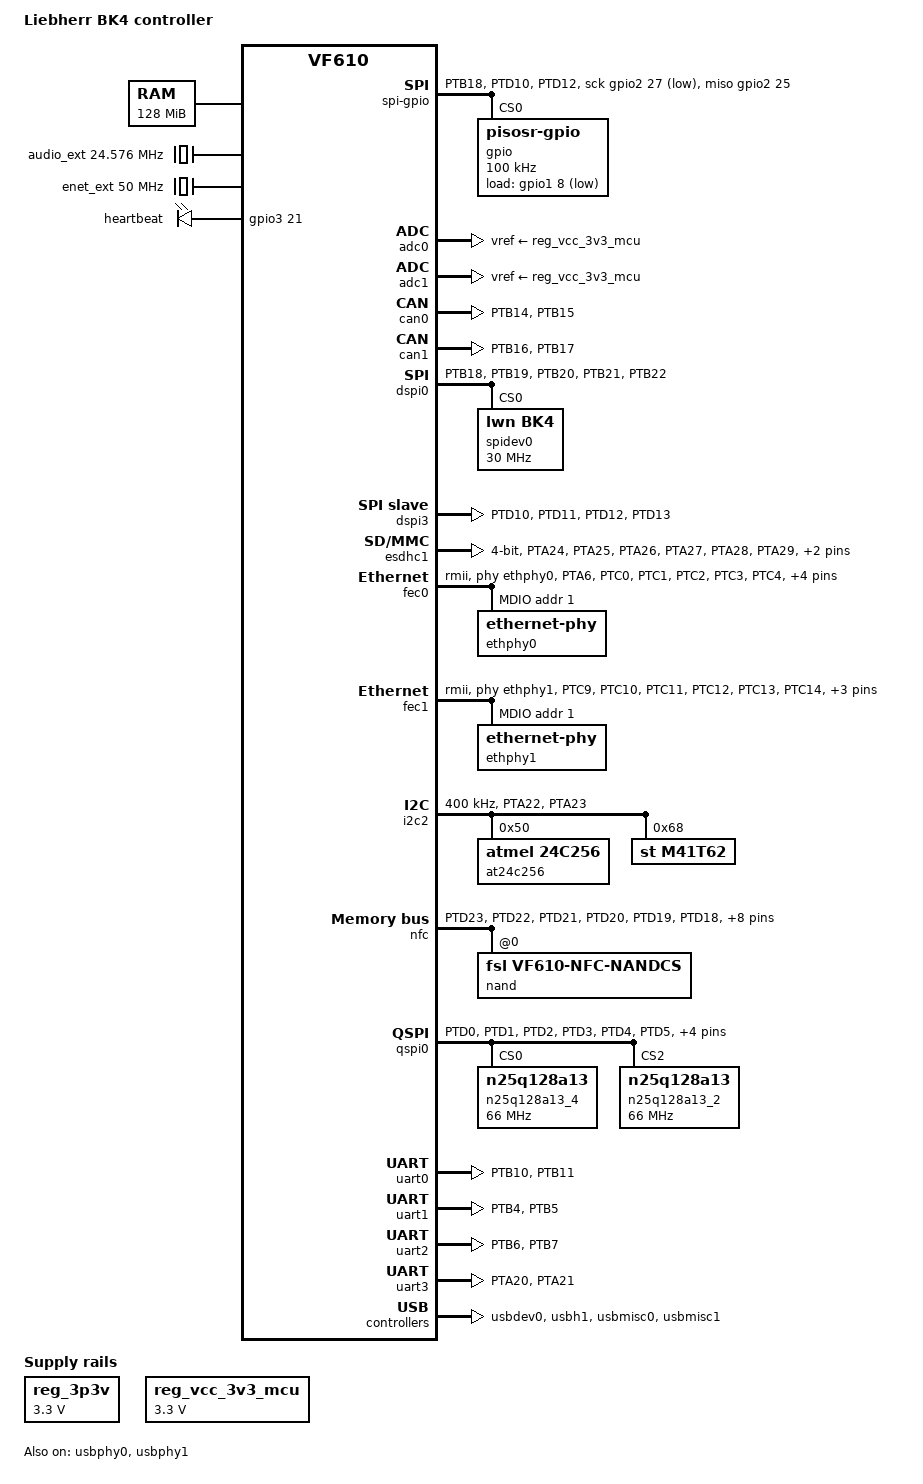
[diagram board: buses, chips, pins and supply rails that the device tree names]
// SPDX-License-Identifier: (GPL-2.0+ OR MIT)
/*
 * Copyright 2018
 * Lukasz Majewski, DENX Software Engineering, lukma@denx.de
 */

/dts-v1/;
#include "vf610.dtsi"

/ {
	model = "Liebherr BK4 controller";
	compatible = "lwn,bk4", "fsl,vf610";

	chosen {
		stdout-path = &uart1;
	};

	memory@80000000 {
		device_type = "memory";
		reg = <0x80000000 0x8000000>;
	};

	audio_ext: oscillator-audio {
		compatible = "fixed-clock";
		#clock-cells = <0>;
		clock-frequency = <24576000>;
	};

	enet_ext: oscillator-ethernet {
		compatible = "fixed-clock";
		#clock-cells = <0>;
		clock-frequency = <50000000>;
	};

	leds {
		compatible = "gpio-leds";
		pinctrl-names = "default";
		pinctrl-0 = <&pinctrl_gpio_leds>;

		/* LED D5 */
		led0: heartbeat {
			label = "heartbeat";
			gpios = <&gpio3 21 GPIO_ACTIVE_HIGH>;
			default-state = "on";
			linux,default-trigger = "heartbeat";
		};
	};

	reg_3p3v: regulator-3p3v {
		compatible = "regulator-fixed";
		regulator-name = "3P3V";
		regulator-min-microvolt = <3300000>;
		regulator-max-microvolt = <3300000>;
		regulator-always-on;
	};

	reg_vcc_3v3_mcu: regulator-vcc3v3mcu {
		compatible = "regulator-fixed";
		regulator-name = "vcc_3v3_mcu";
		regulator-min-microvolt = <3300000>;
		regulator-max-microvolt = <3300000>;
	};

	spi-gpio {
		compatible = "spi-gpio";
		pinctrl-0 = <&pinctrl_gpio_spi>;
		pinctrl-names = "default";
		#address-cells = <1>;
		#size-cells = <0>;
		/* PTD12 ->RPIO[91] */
		sck-gpios  = <&gpio2 27 GPIO_ACTIVE_LOW>;
		/* PTD10 ->RPIO[89] */
		miso-gpios = <&gpio2 25 GPIO_ACTIVE_HIGH>;
		num-chipselects = <0>;

		gpio@0 {
			compatible = "pisosr-gpio";
			reg = <0>;
			gpio-controller;
			#gpio-cells = <2>;
			/* PTB18 -> RGPIO[40] */
			load-gpios  = <&gpio1 8 GPIO_ACTIVE_LOW>;
			spi-max-frequency = <100000>;
		};
	};
};

&adc0 {
	vref-supply = <&reg_vcc_3v3_mcu>;
	status = "okay";
};

&adc1 {
	vref-supply = <&reg_vcc_3v3_mcu>;
	status = "okay";
};

&can0 {
	pinctrl-names = "default";
	pinctrl-0 = <&pinctrl_can0>;
	status = "okay";
};

&can1 {
	pinctrl-names = "default";
	pinctrl-0 = <&pinctrl_can1>;
	status = "okay";
};

&clks {
	clocks = <&sxosc>, <&fxosc>, <&enet_ext>, <&audio_ext>;
	clock-names = "sxosc", "fxosc", "enet_ext", "audio_ext";
};

&dspi0 {
	pinctrl-names = "default";
	pinctrl-0 = <&pinctrl_dspi0>;
	bus-num = <0>;
	status = "okay";

	spidev0@0 {
		compatible = "lwn,bk4";
		spi-max-frequency = <30000000>;
		reg = <0>;
		fsl,spi-cs-sck-delay = <200>;
		fsl,spi-sck-cs-delay = <400>;
	};
};

&dspi3 {
	pinctrl-names = "default";
	pinctrl-0 = <&pinctrl_dspi3>;
	bus-num = <3>;
	status = "okay";
	spi-slave;
	#address-cells = <0>;

	slave {
		compatible = "lwn,bk4";
		spi-max-frequency = <30000000>;
	};
};

&edma0 {
	status = "okay";
};

&edma1 {
	status = "okay";
};

&esdhc1 {
	pinctrl-names = "default";
	pinctrl-0 = <&pinctrl_esdhc1>;
	bus-width = <4>;
	cd-gpios = <&gpio3 2 GPIO_ACTIVE_LOW>;
	status = "okay";
};

&fec0 {
	phy-mode = "rmii";
	phy-handle = <&ethphy0>;
	pinctrl-names = "default";
	pinctrl-0 = <&pinctrl_fec0>;
	status = "okay";

	mdio {
		#address-cells = <1>;
		#size-cells = <0>;

		ethphy0: ethernet-phy@1 {
			reg = <1>;
			clocks = <&clks VF610_CLK_ENET_50M>;
			clock-names = "rmii-ref";
		};
	};
};

&fec1 {
	phy-mode = "rmii";
	phy-handle = <&ethphy1>;
	pinctrl-names = "default";
	pinctrl-0 = <&pinctrl_fec1>;
	status = "okay";

	mdio {
		#address-cells = <1>;
		#size-cells = <0>;

		ethphy1: ethernet-phy@1 {
			reg = <1>;
			clocks = <&clks VF610_CLK_ENET_50M>;
			clock-names = "rmii-ref";
		};
	};
};

&i2c2 {
	clock-frequency = <400000>;
	pinctrl-names = "default";
	pinctrl-0 = <&pinctrl_i2c2>;
	status = "okay";

	at24c256: eeprom@50 {
		compatible = "atmel,24c256";
		reg = <0x50>;
	};

	m41t62: rtc@68 {
		compatible = "st,m41t62";
		reg = <0x68>;
	};
};

&nfc {
	assigned-clocks = <&clks VF610_CLK_NFC>;
	assigned-clock-rates = <33000000>;
	pinctrl-names = "default";
	pinctrl-0 = <&pinctrl_nfc>;
	status = "okay";

	nand@0 {
		compatible = "fsl,vf610-nfc-nandcs";
		reg = <0>;
		#address-cells = <1>;
		#size-cells = <1>;
		nand-bus-width = <16>;
		nand-ecc-mode = "hw";
		nand-ecc-strength = <24>;
		nand-ecc-step-size = <2048>;
		nand-on-flash-bbt;
	};
};

&qspi0 {
	pinctrl-names = "default";
	pinctrl-0 = <&pinctrl_qspi0>;
	status = "okay";

	n25q128a13_4: flash@0 {
		compatible = "n25q128a13", "jedec,spi-nor";
		#address-cells = <1>;
		#size-cells = <1>;
		spi-max-frequency = <66000000>;
		spi-rx-bus-width = <4>;
		reg = <0>;
	};

	n25q128a13_2: flash@2 {
		compatible = "n25q128a13", "jedec,spi-nor";
		#address-cells = <1>;
		#size-cells = <1>;
		spi-max-frequency = <66000000>;
		spi-rx-bus-width = <2>;
		reg = <2>;
	};
};

&uart0 {
	pinctrl-names = "default";
	pinctrl-0 = <&pinctrl_uart0>;
	/delete-property/dma-names;
	status = "okay";
};

&uart1 {
	pinctrl-names = "default";
	pinctrl-0 = <&pinctrl_uart1>;
	/delete-property/dma-names;
	status = "okay";
};

&uart2 {
	pinctrl-names = "default";
	pinctrl-0 = <&pinctrl_uart2>;
	/delete-property/dma-names;
	status = "okay";
};

&uart3 {
	pinctrl-names = "default";
	pinctrl-0 = <&pinctrl_uart3>;
	/delete-property/dma-names;
	status = "okay";
};

&usbdev0 {
	disable-over-current;
	status = "okay";
};

&usbh1 {
	disable-over-current;
	status = "okay";
};

&usbmisc0 {
	status = "okay";
};

&usbmisc1 {
	status = "okay";
};

&usbphy0 {
	status = "okay";
};

&usbphy1 {
	status = "okay";
};

&iomuxc {
	pinctrl-names = "default";
	pinctrl-0 = <&pinctrl_hog>;

	pinctrl_hog: hoggrp {
		fsl,pins = <
			/* One_Wire_PSU_EN */
			VF610_PAD_PTC29__GPIO_102		0x1183
			/* SPI ENABLE */
			VF610_PAD_PTB26__GPIO_96		0x1183
			/* EB control */
			VF610_PAD_PTE14__GPIO_119		0x1183
			VF610_PAD_PTE4__GPIO_109		0x1181
			/* Feedback_Lines */
			VF610_PAD_PTC31__GPIO_104		0x1181
			VF610_PAD_PTA7__GPIO_134		0x1181
			VF610_PAD_PTD9__GPIO_88		0x1181
			VF610_PAD_PTE1__GPIO_106		0x1183
			VF610_PAD_PTB2__GPIO_24		0x1181
			VF610_PAD_PTB3__GPIO_25		0x1181
			VF610_PAD_PTB1__GPIO_23		0x1181
			/* SDHC Enable */
			VF610_PAD_PTE19__GPIO_124		0x1183
			/* SDHC Overcurrent */
			VF610_PAD_PTB23__GPIO_93		0x1181
			/* GPI */
			VF610_PAD_PTE2__GPIO_107		0x1181
			VF610_PAD_PTE3__GPIO_108		0x1181
			VF610_PAD_PTE5__GPIO_110		0x1181
			VF610_PAD_PTE6__GPIO_111		0x1181
			/* GPO */
			VF610_PAD_PTE0__GPIO_105		0x1183
			VF610_PAD_PTE7__GPIO_112		0x1183
			/* RS485 Control */
			VF610_PAD_PTB8__GPIO_30		0x1183
			VF610_PAD_PTB9__GPIO_31		0x1183
			VF610_PAD_PTE8__GPIO_113		0x1183
			/* MPBUS MPB_EN */
			VF610_PAD_PTE28__GPIO_133		0x1183
			/* MISC */
			VF610_PAD_PTE10__GPIO_115		0x1183
			VF610_PAD_PTE11__GPIO_116		0x1183
			VF610_PAD_PTE17__GPIO_122		0x1183
			VF610_PAD_PTC30__GPIO_103		0x1183
			VF610_PAD_PTB0__GPIO_22		0x1181
			/* RESETINFO */
			VF610_PAD_PTE26__GPIO_131		0x1183
			VF610_PAD_PTD6__GPIO_85		0x1181
			VF610_PAD_PTE27__GPIO_132		0x1181
			VF610_PAD_PTE13__GPIO_118		0x1181
			VF610_PAD_PTE21__GPIO_126		0x1181
			VF610_PAD_PTE22__GPIO_127		0x1181
			/* EE_5V_EN */
			VF610_PAD_PTE18__GPIO_123		0x1183
			/* EE_5V_OC_N */
			VF610_PAD_PTE25__GPIO_130		0x1181
		>;
	};

	pinctrl_can0: can0grp {
		fsl,pins = <
			VF610_PAD_PTB14__CAN0_RX		0x1181
			VF610_PAD_PTB15__CAN0_TX		0x1182
		>;
	};

	pinctrl_can1: can1grp {
		fsl,pins = <
			VF610_PAD_PTB16__CAN1_RX		0x1181
			VF610_PAD_PTB17__CAN1_TX		0x1182
		>;
	};

	pinctrl_dspi0: dspi0grp {
		fsl,pins = <
			VF610_PAD_PTB18__DSPI0_CS1		0x1182
			VF610_PAD_PTB19__DSPI0_CS0		0x1182
			VF610_PAD_PTB20__DSPI0_SIN		0x1181
			VF610_PAD_PTB21__DSPI0_SOUT		0x1182
			VF610_PAD_PTB22__DSPI0_SCK		0x1182
		>;
	};

	pinctrl_dspi3: dspi3grp {
		fsl,pins = <
			VF610_PAD_PTD10__DSPI3_CS0		0x1181
			VF610_PAD_PTD11__DSPI3_SIN		0x1181
			VF610_PAD_PTD12__DSPI3_SOUT		0x1182
			VF610_PAD_PTD13__DSPI3_SCK		0x1181
		>;
	};

	pinctrl_esdhc1: esdhc1grp {
		fsl,pins = <
			VF610_PAD_PTA24__ESDHC1_CLK		0x31ef
			VF610_PAD_PTA25__ESDHC1_CMD		0x31ef
			VF610_PAD_PTA26__ESDHC1_DAT0		0x31ef
			VF610_PAD_PTA27__ESDHC1_DAT1		0x31ef
			VF610_PAD_PTA28__ESDHC1_DATA2		0x31ef
			VF610_PAD_PTA29__ESDHC1_DAT3		0x31ef
			VF610_PAD_PTB28__GPIO_98		0x219d
		>;
	};

	pinctrl_fec0: fec0grp {
		fsl,pins = <
			VF610_PAD_PTA6__RMII_CLKIN		0x30dd
			VF610_PAD_PTC0__ENET_RMII0_MDC		0x30de
			VF610_PAD_PTC1__ENET_RMII0_MDIO	0x30df
			VF610_PAD_PTC2__ENET_RMII0_CRS		0x30dd
			VF610_PAD_PTC3__ENET_RMII0_RXD1	0x30dd
			VF610_PAD_PTC4__ENET_RMII0_RXD0	0x30dd
			VF610_PAD_PTC5__ENET_RMII0_RXER	0x30dd
			VF610_PAD_PTC6__ENET_RMII0_TXD1	0x30de
			VF610_PAD_PTC7__ENET_RMII0_TXD0	0x30de
			VF610_PAD_PTC8__ENET_RMII0_TXEN	0x30de
		>;
	};

	pinctrl_fec1: fec1grp {
		fsl,pins = <
			VF610_PAD_PTC9__ENET_RMII1_MDC		0x30de
			VF610_PAD_PTC10__ENET_RMII1_MDIO	0x30df
			VF610_PAD_PTC11__ENET_RMII1_CRS	0x30dd
			VF610_PAD_PTC12__ENET_RMII1_RXD1	0x30dd
			VF610_PAD_PTC13__ENET_RMII1_RXD0	0x30dd
			VF610_PAD_PTC14__ENET_RMII1_RXER	0x30dd
			VF610_PAD_PTC15__ENET_RMII1_TXD1	0x30de
			VF610_PAD_PTC16__ENET_RMII1_TXD0	0x30de
			VF610_PAD_PTC17__ENET_RMII1_TXEN	0x30de
		>;
	};

	pinctrl_gpio_leds: gpioledsgrp {
		fsl,pins = <
			/* Heart bit LED */
			VF610_PAD_PTE12__GPIO_117	0x1183
			/* LEDS */
			VF610_PAD_PTE15__GPIO_120	0x1183
			VF610_PAD_PTA12__GPIO_5	0x1183
			VF610_PAD_PTA16__GPIO_6	0x1183
			VF610_PAD_PTE9__GPIO_114	0x1183
			VF610_PAD_PTE20__GPIO_125	0x1183
			VF610_PAD_PTE23__GPIO_128	0x1183
			VF610_PAD_PTE16__GPIO_121	0x1183
		>;
	};

	pinctrl_gpio_spi: pinctrl-gpio-spi {
		fsl,pins = <
			VF610_PAD_PTB18__GPIO_40        0x1183
			VF610_PAD_PTD10__GPIO_89        0x1183
			VF610_PAD_PTD12__GPIO_91        0x1183
		>;
	};

	pinctrl_i2c2: i2c2grp {
		fsl,pins = <
			VF610_PAD_PTA22__I2C2_SCL               0x34df
			VF610_PAD_PTA23__I2C2_SDA               0x34df
		>;
	};

	pinctrl_nfc: nfcgrp {
		fsl,pins = <
			VF610_PAD_PTD23__NF_IO7		0x28df
			VF610_PAD_PTD22__NF_IO6		0x28df
			VF610_PAD_PTD21__NF_IO5		0x28df
			VF610_PAD_PTD20__NF_IO4		0x28df
			VF610_PAD_PTD19__NF_IO3		0x28df
			VF610_PAD_PTD18__NF_IO2		0x28df
			VF610_PAD_PTD17__NF_IO1		0x28df
			VF610_PAD_PTD16__NF_IO0		0x28df
			VF610_PAD_PTB24__NF_WE_B		0x28c2
			VF610_PAD_PTB25__NF_CE0_B		0x28c2
			VF610_PAD_PTB27__NF_RE_B		0x28c2
			VF610_PAD_PTC26__NF_RB_B		0x283d
			VF610_PAD_PTC27__NF_ALE		0x28c2
			VF610_PAD_PTC28__NF_CLE		0x28c2
		>;
	};

	pinctrl_qspi0: qspi0grp {
		fsl,pins = <
			VF610_PAD_PTD0__QSPI0_A_QSCK	0x397f
			VF610_PAD_PTD1__QSPI0_A_CS0	0x397f
			VF610_PAD_PTD2__QSPI0_A_DATA3	0x397f
			VF610_PAD_PTD3__QSPI0_A_DATA2	0x397f
			VF610_PAD_PTD4__QSPI0_A_DATA1	0x397f
			VF610_PAD_PTD5__QSPI0_A_DATA0	0x397f
			VF610_PAD_PTD7__QSPI0_B_QSCK	0x397f
			VF610_PAD_PTD8__QSPI0_B_CS0	0x397f
			VF610_PAD_PTD11__QSPI0_B_DATA1	0x397f
			VF610_PAD_PTD12__QSPI0_B_DATA0	0x397f
		>;
	};

	pinctrl_uart0: uart0grp {
		fsl,pins = <
			VF610_PAD_PTB10__UART0_TX		0x21a2
			VF610_PAD_PTB11__UART0_RX		0x21a1
		>;
	};

	pinctrl_uart1: uart1grp {
		fsl,pins = <
			VF610_PAD_PTB4__UART1_TX		0x21a2
			VF610_PAD_PTB5__UART1_RX		0x21a1
		>;
	};

	pinctrl_uart2: uart2grp {
		fsl,pins = <
			VF610_PAD_PTB6__UART2_TX		0x21a2
			VF610_PAD_PTB7__UART2_RX		0x21a1
		>;
	};

	pinctrl_uart3: uart3grp {
		fsl,pins = <
			VF610_PAD_PTA20__UART3_TX		0x21a2
			VF610_PAD_PTA21__UART3_RX		0x21a1
		>;
	};
};
